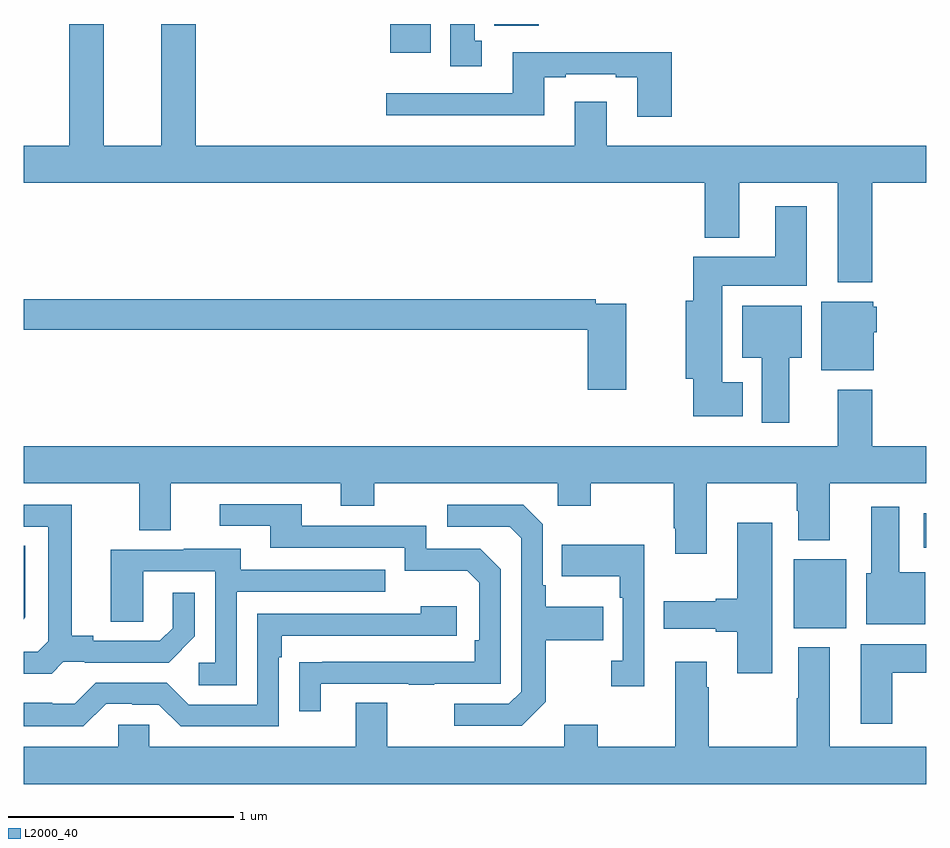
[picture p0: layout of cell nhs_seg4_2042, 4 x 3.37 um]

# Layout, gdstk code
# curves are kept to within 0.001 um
import gdstk
lib = gdstk.Library(unit=1e-6, precision=1e-09)
def R(c, l, rs):  # rectangles x0, y0, x1, y1
    for r in rs: c.add(gdstk.rectangle(r[:2], r[2:], *l))
def P(c, l, *ps):  # polygons
    for p in ps: c.add(gdstk.Polygon(p, *l))
L2000_40 = (2000, 40)

nhs_seg4_2042 = lib.new_cell('nhs_seg4_2042')
R(nhs_seg4_2042, L2000_40, [(220.412,752.222,220.645,752.527), (220.989,752.579,221,752.731), (218.624,754.772,218.803,754.9), (219.086,754.892,219.283,754.9)])
P(nhs_seg4_2042, L2000_40, [(220.76,754.196),(221,754.196),(221,754.36),(219.583,754.36),(219.583,754.555),(219.443,754.555),(219.443,754.36),(217.763,754.36),(217.763,754.9),(217.61,754.9),(217.61,754.36),(217.354,754.36),(217.354,754.9),(217.202,754.9),(217.202,754.36),(217,754.36),(217,754.196),(220.019,754.196),(220.019,753.953),(220.171,753.953),(220.171,754.196),(220.607,754.196),(220.607,753.755),(220.76,753.755)],
  [(219.031,754.826),(218.998,754.826),(218.998,754.9),(218.891,754.9),(218.891,754.713),(219.031,754.713)],
  [(219.872,754.774),(219.167,754.774),(219.167,754.593),(218.607,754.593),(218.607,754.496),(219.307,754.496),(219.307,754.665),(219.403,754.665),(219.403,754.677),(219.623,754.677),(219.623,754.665),(219.719,754.665),(219.719,754.488),(219.872,754.488)],
  [(220.186,753.313),(220.096,753.313),(220.096,753.74),(220.471,753.74),(220.471,754.093),(220.331,754.093),(220.331,753.868),(219.967,753.868),(219.967,753.673),(219.935,753.673),(219.935,753.329),(219.967,753.329),(219.967,753.161),(220.186,753.161)],
  [(219.67,753.66),(219.536,753.66),(219.536,753.68),(217,753.68),(217,753.544),(219.5,753.544),(219.5,753.279),(219.67,753.279)],
  [(220.768,753.534),(220.78,753.534),(220.78,753.648),(220.764,753.648),(220.764,753.67),(220.535,753.67),(220.535,753.365),(220.768,753.365)],
  [(220.393,753.422),(220.447,753.422),(220.447,753.652),(220.184,753.652),(220.184,753.422),(220.271,753.422),(220.271,753.132),(220.393,753.132)],
  [(217,752.864),(217.511,752.864),(217.511,752.656),(217.651,752.656),(217.651,752.864),(218.405,752.864),(218.405,752.765),(218.553,752.765),(218.553,752.864),(219.366,752.864),(219.366,752.765),(219.513,752.765),(219.513,752.864),(219.88,752.864),(219.88,752.665),(219.887,752.665),(219.887,752.553),(220.027,752.553),(220.027,752.864),(220.426,752.864),(220.426,752.744),(220.433,752.744),(220.433,752.612),(220.573,752.612),(220.573,752.864),(221,752.864),(221,753.028),(220.76,753.028),(220.76,753.28),(220.607,753.28),(220.607,753.028),(217,753.028)],
  [(218.317,751.977),(218.707,751.977),(218.707,751.972),(218.819,751.972),(218.819,751.977),(219.114,751.977),(219.114,752.484),(219.024,752.574),(218.784,752.574),(218.784,752.676),(218.233,752.676),(218.233,752.772),(217.869,752.772),(217.869,752.676),(218.093,752.676),(218.093,752.58),(218.688,752.58),(218.688,752.477),(218.965,752.477),(219.018,752.424),(219.018,752.17),(218.998,752.17),(218.998,752.073),(218.221,752.072),(218.221,751.854),(218.317,751.854)],
  [(217.176,752.073),(217.27,752.073),(217.27,752.07),(217.642,752.07),(217.758,752.186),(217.758,752.38),(217.661,752.38),(217.661,752.223),(217.604,752.166),(217.309,752.166),(217.309,752.189),(217.213,752.189),(217.213,752.769),(217,752.769),(217,752.673),(217.109,752.673),(217.109,752.165),(217.062,752.118),(217,752.118),(217,752.021),(217.124,752.021)],
  [(219.313,751.897),(219.313,752.17),(219.569,752.17),(219.569,752.317),(219.313,752.317),(219.313,752.413),(219.3,752.413),(219.3,752.682),(219.213,752.769),(218.877,752.769),(218.877,752.673),(219.153,752.673),(219.204,752.622),(219.204,751.941),(219.15,751.887),(218.907,751.887),(218.907,751.791),(219.207,751.791)],
  [(220.996,752.47),(220.879,752.47),(220.879,752.761),(220.757,752.761),(220.757,752.466),(220.733,752.466),(220.733,752.24),(220.996,752.24)],
  [(220.318,752.689),(220.163,752.689),(220.163,752.354),(220.067,752.354),(220.067,752.341),(219.837,752.341),(219.837,752.219),(220.067,752.219),(220.067,752.207),(220.163,752.207),(220.163,752.022),(220.318,752.022)],
  [(219.75,752.593),(219.385,752.593),(219.385,752.453),(219.642,752.453),(219.642,752.357),(219.654,752.357),(219.654,752.078),(219.603,752.078),(219.603,751.965),(219.75,751.965)],
  [(217.008,752.27),(217.008,752.588),(217,752.588),(217,752.262)],
  [(217.944,752.385),(218.603,752.385),(218.603,752.481),(217.963,752.481),(217.963,752.575),(217.709,752.575),(217.709,752.571),(217.385,752.571),(217.385,752.251),(217.53,752.251),(217.53,752.475),(217.848,752.475),(217.848,752.07),(217.776,752.07),(217.776,751.969),(217.944,751.969)],
  [(217.365,751.887),(217.481,751.887),(217.481,751.884),(217.599,751.884),(217.695,751.788),(218.13,751.788),(218.13,752.093),(218.143,752.093),(218.143,752.19),(218.92,752.19),(218.92,752.32),(218.759,752.32),(218.759,752.286),(218.034,752.286),(218.034,751.884),(217.731,751.884),(217.635,751.98),(217.32,751.98),(217.227,751.887),(217.127,751.887),(217.127,751.891),(217,751.891),(217,751.787),(217.265,751.787)],
  [(220.849,752.024),(221,752.024),(221,752.152),(220.709,752.152),(220.709,751.8),(220.849,751.8)],
  [(221,751.696),(220.573,751.696),(220.573,752.137),(220.433,752.137),(220.433,751.911),(220.426,751.911),(220.426,751.696),(220.035,751.696),(220.035,751.961),(220.027,751.961),(220.027,752.074),(219.887,752.074),(219.887,751.696),(219.543,751.696),(219.543,751.795),(219.395,751.795),(219.395,751.696),(218.611,751.696),(218.611,751.891),(218.471,751.891),(218.471,751.696),(217.557,751.696),(217.557,751.794),(217.419,751.794),(217.419,751.696),(217,751.696),(217,751.532),(221,751.532)])

lib.write_gds('nhs_seg4_2042.gds')
